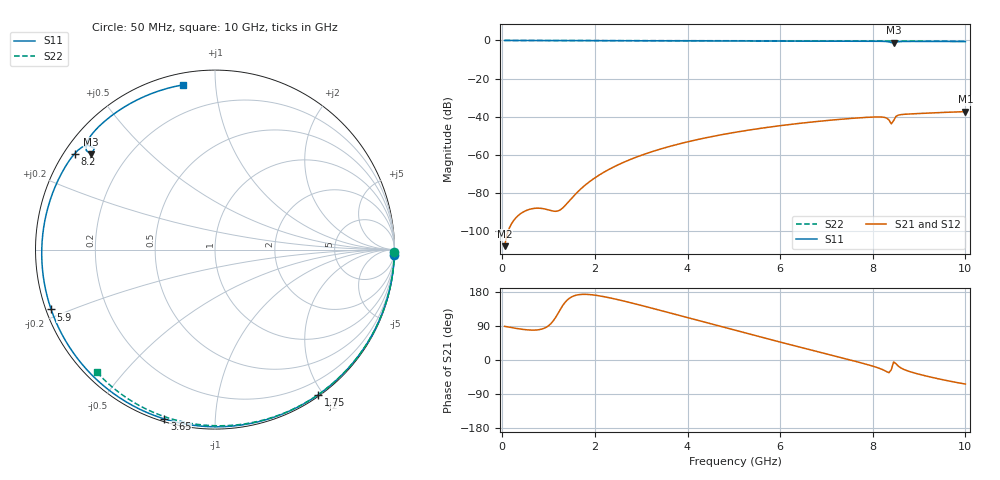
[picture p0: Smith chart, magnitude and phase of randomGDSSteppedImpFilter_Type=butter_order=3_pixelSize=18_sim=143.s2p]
! freq	dB(S11)	phase(S11)	dB(S12)	phase(S12)
!  dB(S21)	phase(S21)	dB(S22)	phase(S22)
!S-par simulation data
#  GHz  S  DB  R 50
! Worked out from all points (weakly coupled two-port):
!   200 points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, 50 MHz to 10 GHz, reference 50 ohm
!   highest |S21| = -37.42 dB at 10 GHz (marker M1); lowest = -108.1 dB at 50 MHz (marker M2)
!   lowest |S11| = -1.2 dB at 8.45 GHz (marker M3), VSWR 14.34, Z = 3.89 + j16.9 ohm
!   |S11| at or under -10 dB: nowhere
!   |S22| runs from -0.5 to 0.0 dB; largest |S21 - S12| = 0
!   S11 on the Smith chart (normalised r, x): 50 MHz: 0, -71; 1.75 GHz: 0.02, -1.94; 3.65 GHz: 0.01, -0.74; 5.9 GHz: 0.01, -0.18; 8.2 GHz: 0.03, +0.31; 10 GHz: 0.06, +0.82
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0.05  -0.00 -1.6  -108.12 88.9  -108.12 88.9  -0.00 -0.8
0.8  -0.03 -25.5  -88.17 80.1  -88.17 80.1  -0.02 -12.3
1.6  -0.06 -50.1  -80.25 171.2  -80.25 171.2  -0.03 -24.4
1.75  -0.07 -54.6  -76.84 173.3  -76.84 173.3  -0.03 -26.6
2.05  -0.08 -63.4  -71.40 170.2  -71.40 170.2  -0.04 -31.1
2.45  -0.09 -74.7  -65.95 160.6  -65.95 160.6  -0.05 -37.0
2.9  -0.11 -87.1  -61.27 147.2  -61.27 147.2  -0.06 -43.5
3.4  -0.12 -100.3  -57.18 131.3  -57.18 131.3  -0.07 -50.6
3.65  -0.13 -106.7  -55.45 123.2  -55.45 123.2  -0.07 -54.2
4.3  -0.16 -122.7  -51.64 102.0  -51.64 102.0  -0.09 -63.2
5.05  -0.20 -140.5  -48.18 77.6  -48.18 77.6  -0.11 -73.3
5.9  -0.25 -159.9  -45.11 50.4  -45.11 50.4  -0.14 -84.3
6.7  -0.30 -178.1  -42.82 25.3  -42.82 25.3  -0.18 -94.4
7.5  -0.36 163.4  -41.04 0.4  -41.04 0.4  -0.23 -104.1
8.2  -0.47 145.6  -40.26 -24.7  -40.26 -24.7  -0.28 -112.5
8.35  -0.76 140.6  -41.81 -33.5  -41.81 -33.5  -0.29 -114.3
8.4  -1.14 140.0  -43.86 -25.6  -43.86 -25.6  -0.30 -114.9
8.45  -1.21 142.4  -42.13 -5.1  -42.13 -5.1  -0.30 -115.4
8.5  -0.86 142.4  -39.94 -9.7  -39.94 -9.7  -0.30 -116.0
8.6  -0.59 139.2  -39.00 -20.4  -39.00 -20.4  -0.31 -117.2
9.25  -0.53 121.3  -38.11 -45.1  -38.11 -45.1  -0.37 -124.9
10  -0.58 101.1  -37.42 -63.5  -37.42 -63.5  -0.47 -133.9
